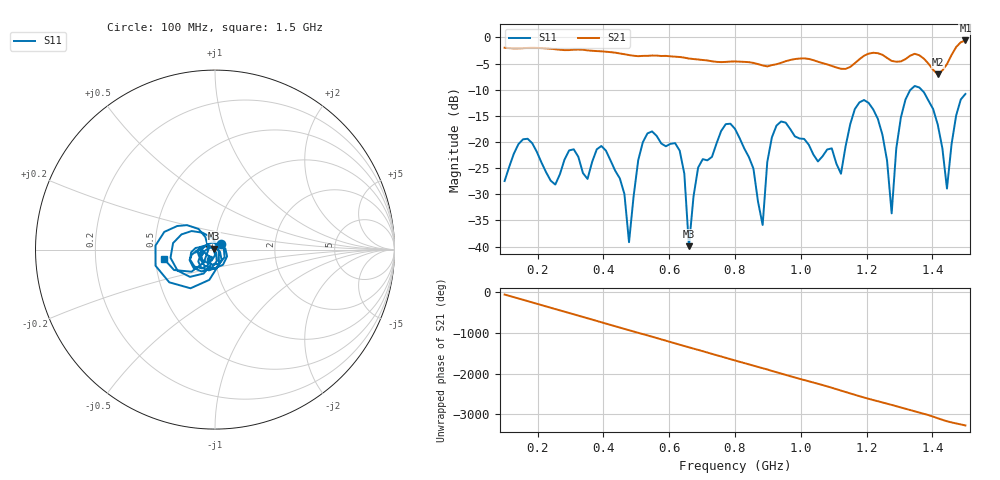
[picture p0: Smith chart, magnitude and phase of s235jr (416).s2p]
! NanoVNA-App
! Date: 2025-09-25 15:07:24
! Start: 100MHz Stop: 1,5GHz Points: 101
! S-Parameter data: F S11 S21 S12 S22
# Hz S RI R 50
!  Frequency  S11_Real  S11_Imag  S21_Real  S21_Imag  S12_Real  S12_Imag  S22_Real  S22_Imag
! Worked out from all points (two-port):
!   101 points, 100 MHz to 1.5 GHz, reference 50 ohm
!   highest |S21| = -0.57 dB at 1.5 GHz (marker M1); lowest = -7.1 dB at 1.416 GHz (marker M2)
!   |S21| within 3 dB of the highest: start of sweep to 504.6 MHz; 508.1 MHz to 597.3 MHz (89.19 MHz wide, 16.1 % of centre) (the widest 2 of 5)
!   lowest |S11| = -39.9 dB at 660 MHz (marker M3), VSWR 1.02, Z = 49.2 + j0.581 ohm
!   |S11| at or under -10 dB: start of sweep to 1.333 GHz; 1.367 GHz to end of sweep
!   S12 and S22 are empty: the file has one direction only
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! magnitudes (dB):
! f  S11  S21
! 100 MHz  -27.5  -2.0
! 170 MHz  -19.4  -2.0
! 338 MHz  -26.0  -2.3
! 408 MHz  -21.7  -2.7
! 478 MHz  -39.2  -3.4
! 520 MHz  -20.0  -3.5
! 576 MHz  -20.3  -3.5
! 632 MHz  -21.7  -3.7
! 660 MHz  -39.9  -4.0
! 688 MHz  -24.9  -4.2
! 800 MHz  -17.5  -4.6
! 884 MHz  -35.9  -5.4
! 926 MHz  -16.9  -5.1
! 1.038 GHz  -22.4  -4.3
! 1.122 GHz  -26.1  -6.0
! 1.206 GHz  -12.5  -3.1
! 1.248 GHz  -18.6  -3.3
! 1.276 GHz  -33.7  -4.5
! 1.332 GHz  -10.1  -3.5
! 1.416 GHz  -16.7  -7.1
! 1.444 GHz  -28.9  -5.1
! 1.5 GHz  -10.8  -0.6
